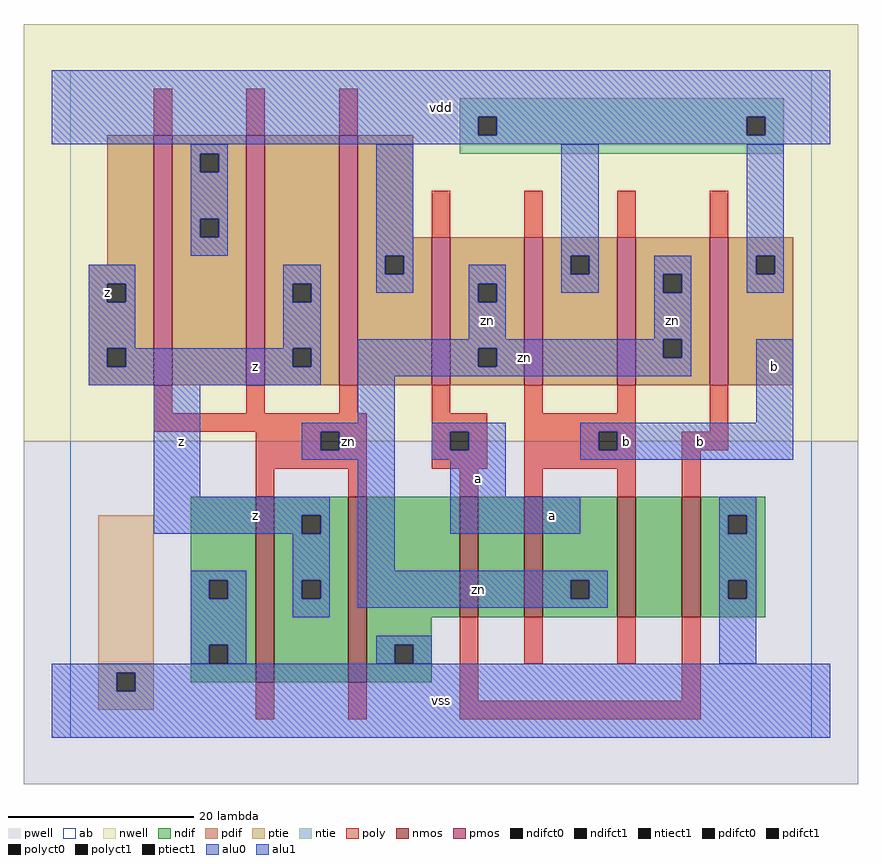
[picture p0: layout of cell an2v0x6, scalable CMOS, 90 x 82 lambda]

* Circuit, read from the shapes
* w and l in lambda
.subckt an2v0x6 a b vdd vss z zn
M1 z zn vss vss nfet w=20 l=2 m=2
M2 n1 a vss vss nfet w=13 l=2
M3 zn b n1 vss nfet w=13 l=2
M4 n2 b zn vss nfet w=13 l=2
M5 vss a n2 vss nfet w=13 l=2
M6 vdd zn z vdd pfet w=27 l=2 m=3
M7 zn a vdd vdd pfet w=16 l=2 m=2
M8 vdd b zn vdd pfet w=16 l=2 m=2
.ends

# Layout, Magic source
magic
tech scmos
<< ab >>
rect 0 0 80 72
<< nwell >>
rect -5 32 85 77
<< pwell >>
rect -5 -5 85 32
<< poly >>
rect 9 65 11 70
rect 19 65 21 70
rect 29 65 31 70
rect 39 54 41 59
rect 49 54 51 59
rect 59 54 61 59
rect 69 54 71 59
rect 9 35 11 38
rect 19 35 21 38
rect 29 35 31 38
rect 39 35 41 38
rect 49 35 51 38
rect 59 35 61 38
rect 9 33 32 35
rect 20 31 27 33
rect 29 31 32 33
rect 20 29 32 31
rect 39 33 45 35
rect 39 31 41 33
rect 43 31 45 33
rect 39 29 45 31
rect 49 33 61 35
rect 69 33 71 38
rect 49 31 57 33
rect 59 31 61 33
rect 49 29 61 31
rect 20 26 22 29
rect 30 26 32 29
rect 42 26 44 29
rect 49 26 51 29
rect 59 26 61 29
rect 66 31 71 33
rect 66 26 68 31
rect 20 2 22 6
rect 30 2 32 6
rect 42 4 44 13
rect 49 8 51 13
rect 59 8 61 13
rect 66 4 68 13
rect 42 2 68 4
<< ndif >>
rect 13 17 20 26
rect 13 15 15 17
rect 17 15 20 17
rect 13 10 20 15
rect 13 8 15 10
rect 17 8 20 10
rect 13 6 20 8
rect 22 24 30 26
rect 22 22 25 24
rect 27 22 30 24
rect 22 17 30 22
rect 22 15 25 17
rect 27 15 30 17
rect 22 6 30 15
rect 32 13 42 26
rect 44 13 49 26
rect 51 17 59 26
rect 51 15 54 17
rect 56 15 59 17
rect 51 13 59 15
rect 61 13 66 26
rect 68 24 75 26
rect 68 22 71 24
rect 73 22 75 24
rect 68 17 75 22
rect 68 15 71 17
rect 73 15 75 17
rect 68 13 75 15
rect 32 10 39 13
rect 32 8 35 10
rect 37 8 39 10
rect 32 6 39 8
<< pdif >>
rect 4 51 9 65
rect 2 49 9 51
rect 2 47 4 49
rect 6 47 9 49
rect 2 42 9 47
rect 2 40 4 42
rect 6 40 9 42
rect 2 38 9 40
rect 11 63 19 65
rect 11 61 14 63
rect 16 61 19 63
rect 11 56 19 61
rect 11 54 14 56
rect 16 54 19 56
rect 11 38 19 54
rect 21 49 29 65
rect 21 47 24 49
rect 26 47 29 49
rect 21 42 29 47
rect 21 40 24 42
rect 26 40 29 42
rect 21 38 29 40
rect 31 54 37 65
rect 31 52 39 54
rect 31 50 34 52
rect 36 50 39 52
rect 31 38 39 50
rect 41 49 49 54
rect 41 47 44 49
rect 46 47 49 49
rect 41 42 49 47
rect 41 40 44 42
rect 46 40 49 42
rect 41 38 49 40
rect 51 52 59 54
rect 51 50 54 52
rect 56 50 59 52
rect 51 38 59 50
rect 61 50 69 54
rect 61 48 64 50
rect 66 48 69 50
rect 61 43 69 48
rect 61 41 64 43
rect 66 41 69 43
rect 61 38 69 41
rect 71 52 78 54
rect 71 50 74 52
rect 76 50 78 52
rect 71 38 78 50
<< alu1 >>
rect -2 67 82 72
rect -2 65 44 67
rect 46 65 73 67
rect 75 65 82 67
rect -2 64 82 65
rect 2 49 7 51
rect 2 47 4 49
rect 6 47 7 49
rect 2 42 7 47
rect 23 49 27 51
rect 23 47 24 49
rect 26 47 27 49
rect 23 42 27 47
rect 2 40 4 42
rect 6 40 24 42
rect 26 40 27 42
rect 2 38 27 40
rect 9 26 14 38
rect 74 34 78 43
rect 39 33 47 34
rect 39 31 41 33
rect 43 31 47 33
rect 39 30 47 31
rect 55 33 78 34
rect 55 31 57 33
rect 59 31 78 33
rect 55 30 78 31
rect 9 24 28 26
rect 9 22 25 24
rect 27 22 28 24
rect 24 17 28 22
rect 24 15 25 17
rect 27 15 28 17
rect 24 13 28 15
rect 41 26 47 30
rect 41 22 55 26
rect -2 7 82 8
rect -2 5 5 7
rect 7 5 82 7
rect -2 0 82 5
<< ptie >>
rect 3 7 9 24
rect 3 5 5 7
rect 7 5 9 7
rect 3 3 9 5
<< ntie >>
rect 42 67 77 69
rect 42 65 44 67
rect 46 65 73 67
rect 75 65 77 67
rect 42 63 77 65
<< nmos >>
rect 20 6 22 26
rect 30 6 32 26
rect 42 13 44 26
rect 49 13 51 26
rect 59 13 61 26
rect 66 13 68 26
<< pmos >>
rect 9 38 11 65
rect 19 38 21 65
rect 29 38 31 65
rect 39 38 41 54
rect 49 38 51 54
rect 59 38 61 54
rect 69 38 71 54
<< polyct0 >>
rect 27 31 29 33
<< polyct1 >>
rect 41 31 43 33
rect 57 31 59 33
<< ndifct0 >>
rect 15 15 17 17
rect 15 8 17 10
rect 54 15 56 17
rect 71 22 73 24
rect 71 15 73 17
rect 35 8 37 10
<< ndifct1 >>
rect 25 22 27 24
rect 25 15 27 17
<< ntiect1 >>
rect 44 65 46 67
rect 73 65 75 67
<< ptiect1 >>
rect 5 5 7 7
<< pdifct0 >>
rect 14 61 16 63
rect 14 54 16 56
rect 34 50 36 52
rect 44 47 46 49
rect 44 40 46 42
rect 54 50 56 52
rect 64 48 66 50
rect 64 41 66 43
rect 74 50 76 52
<< pdifct1 >>
rect 4 47 6 49
rect 4 40 6 42
rect 24 47 26 49
rect 24 40 26 42
<< alu0 >>
rect 13 63 17 64
rect 13 61 14 63
rect 16 61 17 63
rect 13 56 17 61
rect 13 54 14 56
rect 16 54 17 56
rect 13 52 17 54
rect 33 52 37 64
rect 33 50 34 52
rect 36 50 37 52
rect 53 52 57 64
rect 73 52 77 64
rect 33 48 37 50
rect 43 49 47 51
rect 43 47 44 49
rect 46 47 47 49
rect 53 50 54 52
rect 56 50 57 52
rect 53 48 57 50
rect 63 50 67 52
rect 63 48 64 50
rect 66 48 67 50
rect 73 50 74 52
rect 76 50 77 52
rect 73 48 77 50
rect 43 43 47 47
rect 63 43 67 48
rect 31 42 64 43
rect 31 40 44 42
rect 46 41 64 42
rect 66 41 67 43
rect 46 40 67 41
rect 31 39 67 40
rect 31 34 35 39
rect 25 33 35 34
rect 25 31 27 33
rect 29 31 35 33
rect 25 30 35 31
rect 13 17 19 18
rect 13 15 15 17
rect 17 15 19 17
rect 13 10 19 15
rect 31 18 35 30
rect 70 24 74 26
rect 70 22 71 24
rect 73 22 74 24
rect 31 17 58 18
rect 31 15 54 17
rect 56 15 58 17
rect 31 14 58 15
rect 70 17 74 22
rect 70 15 71 17
rect 73 15 74 17
rect 13 8 15 10
rect 17 8 19 10
rect 33 10 39 11
rect 33 8 35 10
rect 37 8 39 10
rect 70 8 74 15
<< labels >>
rlabel alu0 30 32 30 32 6 zn
rlabel alu0 44 16 44 16 6 zn
rlabel alu0 45 45 45 45 6 zn
rlabel alu0 49 41 49 41 6 zn
rlabel alu0 65 45 65 45 6 zn
rlabel alu1 12 32 12 32 6 z
rlabel alu1 4 48 4 48 6 z
rlabel alu1 20 24 20 24 6 z
rlabel alu1 20 40 20 40 6 z
rlabel alu1 40 4 40 4 6 vss
rlabel alu1 44 28 44 28 6 a
rlabel alu1 52 24 52 24 6 a
rlabel alu1 40 68 40 68 6 vdd
rlabel alu1 60 32 60 32 6 b
rlabel alu1 68 32 68 32 6 b
rlabel alu1 76 40 76 40 6 b
<< end >>
